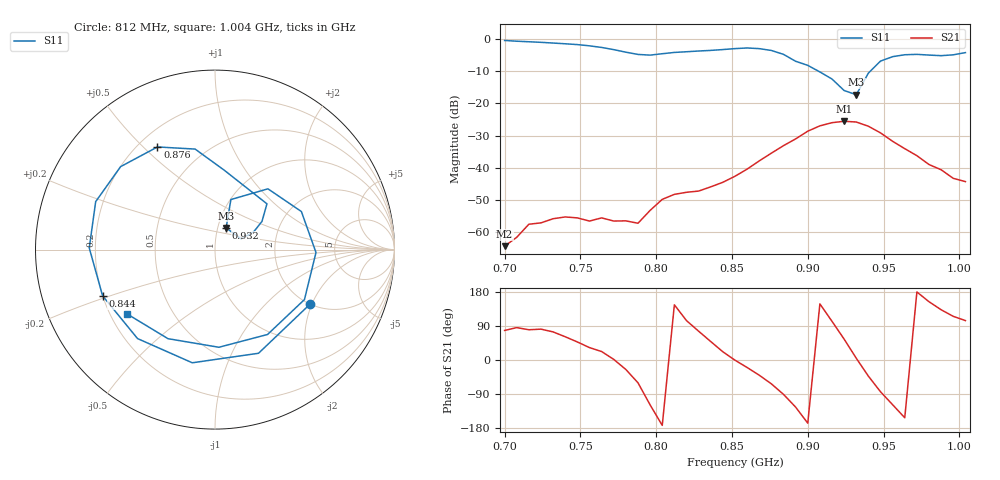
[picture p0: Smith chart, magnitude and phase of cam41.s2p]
# Hz S RI R 50
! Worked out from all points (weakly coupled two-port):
!   39 points, 700 MHz to 1.004 GHz, reference 50 ohm
!   highest |S21| = -25.58 dB at 924 MHz (marker M1); lowest = -64.2 dB at 700 MHz (marker M2)
!   lowest |S11| = -17.4 dB at 932 MHz (marker M3), VSWR 1.31, Z = 54.9 + j13.5 ohm
!   |S11| at or under -10 dB: 906.8 MHz to 941.5 MHz (34.68 MHz wide, 3.75 % of centre)
!   S12 and S22 are empty: the file has one direction only
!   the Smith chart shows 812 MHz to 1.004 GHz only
!   S11 on the Smith chart (normalised r, x): 812 MHz: 2.01, -1.94; 844 MHz: 0.20, -0.19; 876 MHz: 0.28, +0.55; 932 MHz: 1.10, +0.27; 1.004 GHz: 0.27, -0.30
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7e8  0.7704 0.5326  0.000128 0.000601  0 0  0 0
7.24e8  0.8356 -0.2628  0.00021 0.00139  0 0  0 0
7.4e8  0.4444 -0.7034  0.000835 0.00153  0 0  0 0
7.56e8  -0.1971 -0.7477  0.00127 0.000811  0 0  0 0
7.72e8  -0.6499 -0.1836  0.0015 4.24e-05  0 0  0 0
7.8e8  -0.5719 0.2319  0.00137 -0.000642  0 0  0 0
7.88e8  -0.2193 0.5253  0.000692 -0.00121  0 0  0 0
7.96e8  0.2592 0.4912  -0.00105 -0.00193  0 0  0 0
8.04e8  0.5671 0.138  -0.00323 -0.000424  0 0  0 0
8.12e8  0.5313 -0.3022  -0.00321 0.0022  0 0  0 0
8.28e8  -0.1267 -0.6306  0.00106 0.00425  0 0  0 0
8.44e8  -0.6261 -0.2577  0.00556 0.0022  0 0  0 0
8.52e8  -0.7005 0.00898  0.00742 -6.34e-05  0 0  0 0
8.76e8  -0.3206 0.572  0.00768 -0.015  0 0  0 0
9e8  0.2894 0.2551  -0.0359 -0.0085  0 0  0 0
9.08e8  0.2616 0.1568  -0.0379 0.0237  0 0  0 0
9.24e8  0.1457 0.0593  0.0301 0.0431  0 0  0 0
9.32e8  0.0619 0.1206  0.0511 0.00416  0 0  0 0
9.48e8  0.2949 0.3387  0.00375 -0.0346  0 0  0 0
9.56e8  0.4812 0.2121  -0.0121 -0.0227  0 0  0 0
9.8e8  0.2928 -0.4729  -0.0101 0.00498  0 0  0 0
1.004e9  -0.4912 -0.3575  -0.00149 0.00594  0 0  0 0
